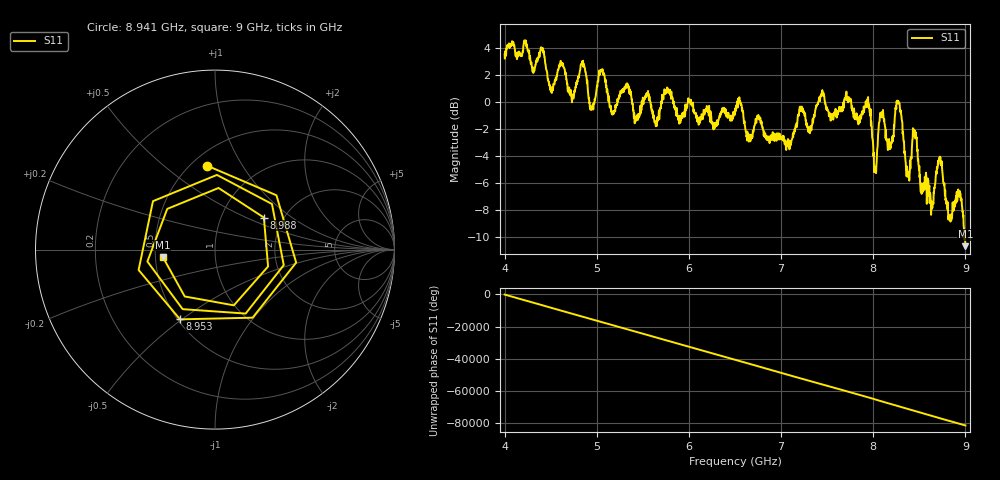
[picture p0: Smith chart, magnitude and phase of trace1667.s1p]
! Created with skrf 1.8.0 (http://scikit-rf.org).
# Hz S RI R 50.0
!freq ReS11 ImS11
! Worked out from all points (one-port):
!   1601 points, 4 GHz to 9 GHz, reference 50 ohm
!   lowest |S11| = -10.6 dB at 9 GHz (marker M1), VSWR 1.83, Z = 27.4 - j2.5 ohm
!   |S11| at or under -10 dB: 8.989817 GHz to 8.992043 GHz (2.226 MHz wide, 0.0248 % of centre); 8.996024 GHz to end of sweep
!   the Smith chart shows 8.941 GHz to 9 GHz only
!   S11 on the Smith chart (normalised r, x): 8.941 GHz: 0.60, +0.72; 8.953 GHz: 0.51, -0.49; 8.988 GHz: 1.59, +0.64; 9 GHz: 0.55, -0.05
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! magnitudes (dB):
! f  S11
! 4 GHz  3.6
! 4.409 GHz  3.8
! 4.509 GHz  0.8
! 4.625 GHz  2.9
! 4.731 GHz  0.0
! 4.853 GHz  2.6
! 4.944 GHz  -0.6
! 5.05 GHz  2.3
! 5.162 GHz  -0.8
! 5.25 GHz  0.4
! 5.875 GHz  -1.0
! 6.5 GHz  -0.9
! 7.125 GHz  -2.6
! 7.75 GHz  0.1
! 7.947 GHz  -0.2
! 8.022 GHz  -4.8
! 8.084 GHz  -0.8
! 8.181 GHz  -3.5
! 8.275 GHz  0.0
! 8.375 GHz  -5.1
! 8.447 GHz  -2.4
! 8.628 GHz  -8.3
! 8.719 GHz  -4.2
! 8.831 GHz  -8.6
! 8.941 GHz  -6.6
! 8.953 GHz  -7.2
! 8.988 GHz  -9.7
! 9 GHz  -10.6
